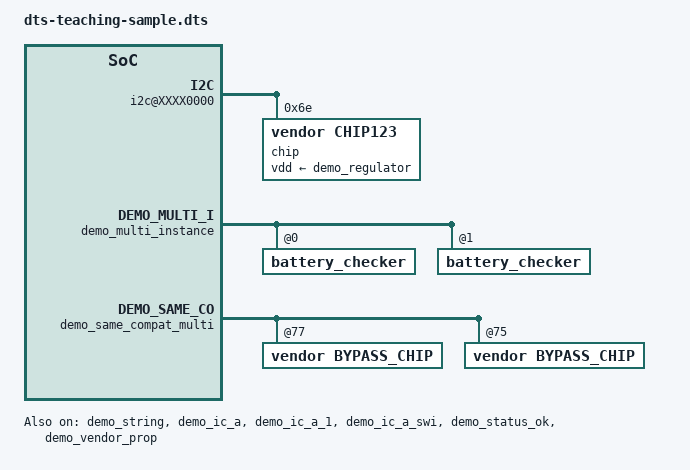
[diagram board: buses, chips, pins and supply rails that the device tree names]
/*
 * DTS 配置格式教学范例文件
 *
 * 本文件基于 overlay.dts 缩减而成，每种配置格式仅保留一项示例，
 * 并附加注释说明该格式的语法与用途，供学习 DTS 配置参考。
 *
 * 目录索引:
 *   1.  文件头声明          (/dts-v1/, /plugin/)
 *   2.  include 包含        (/include/)
 *   3.  根节点属性赋值      (/ {})
 *   4.  节点引用覆盖        (&label)
 *   5.  整数属性            (<>)
 *   6.  字符串属性          ("")
 *   7.  字节数组属性        (/bits/ 8 <>)
 *   8.  Phandle 引用        (<&xxx>)
 *   9.  布尔/空属性         (无值)
 *   10. 总线设备节点        (name@address)
 *   11. 同名多节点          (@0 / @1)
 *   12. 编号标签变体        (_1 / _swi)
 *   13. 多层嵌套子节点      (无地址子节点)
 *   14. compatible 属性     (vendor,device)
 *   15. -supply 后缀属性    (regulator 绑定)
 *   16. kebab-case 命名     (连字符)
 *   17. 字符串→属性名引用   (间接引用)
 *   18. 自描述表格          (列数元数据 + 数据行)
 *   19. 编号属性序列        (同前缀 + 数字后缀)
 *   20. 标准 DTS 框架属性   (#address-cells 等)
 *   21. 负数值              (字符串形式与 <> 形式)
 *   22. 十六进制大小写混用  (0xb / 0x4B)
 *   23. 多 phandle 列表     (<&a &b>)
 *   24. 注释格式            (block 和 line)
 *   25. 多 <> 组逗号拼接    (<...>,<...>)
 *   26. 同一节点多次覆盖    (&label 出现多次)
 *   27. 节点内定义 label    (label:name)
 *   28. vendor 前缀属性名   (vendor,property)
 *   29. 浮点数字符串表示    ("0.5")
 *   30. 字符串中 | 多值     ("6|9|10")
 *   31. 同 compatible 多实例 (相同 compatible 不同 reg)
 */

/* ── 1. 文件头声明 ── */
/dts-v1/;
/plugin/;

/* ── 2. include 包含 ── */
/include/ "pin.dtsi"

/* ── 3. 根节点属性赋值 ── */
/ {
	board_id = <0>;
};

/* ── 5. 整数属性 ── */
&demo_integer {
	/* 单值整数 */
	single_value = <42>;
	/* 十六进制整数 */
	hex_value = <0x220022>;
	/* 多值数组 */
	multi_value = <1 2800>;
	/* 多行矩阵——换行不影响解析，空格/Tab 均可分隔 */
	multi_line_matrix = <
		16 100 100
		6  15  100
		0  5   100>;
};

/* ── 6. 字符串属性 ── */
&demo_string {
	/* 单字符串 */
	status = "ok";
	/* 字符串数组（逗号分隔的多个字符串） */
	string_array = "buck", "0", "1", "1";
	/* 多行字符串参数表——换行不中断 */
	multi_line_table =
		"scp", "lvc", "2000", "105", "0", "2",
		"scp", "sc",  "3000", "105", "0", "0";
};

/* ── 7. 字节数组属性 ── */
&demo_byte_array {
	/* 8 位字节数组 */
	reg_config = /bits/ 8 <0x19 0x32 0x4B 0x64 0x7D>;
	/* 也可用于普通数值 */
	mode_list = /bits/ 8 <0 1 1 5 6>;
};

/* ── 8. Phandle 引用 ── */
&demo_phandle {
	/* GPIO 引用: phandler + pin 号 + flags */
	gpio_int = <&gpio13 29 0>;
	/* interrupt-parent 引用中断控制器 */
	interrupt-parent = <&gic>;
};

/* ── 9. 布尔/空属性 ── */
&demo_bool {
	/* 布尔属性——存在即启用 */
	weak_source_sleep_enabled;
	charge_done_sleep_enabled;
};

/* ── 20. 标准 DTS 框架属性 ── */
&amba {
	#address-cells = <2>;
	#size-cells = <2>;
	compatible = "arm,amba-bus";
	interrupt-parent = <&gic>;
	ranges;

	/* ── 10. 总线设备节点 name@address ── */
	i2c@XXXX0000 {
		status = "ok";

		/* ── 14. compatible 的 vendor,device 格式 ── */
		chip@6E {
			compatible = "vendor,chip123";   /* vendor,device 格式 */
			reg = <0x6e>;                    /* 总线地址，与 @6E 对应 */

			/* ── 13. 无地址子节点（功能子模块）── */
			sub_module {
				param_a = <0>;
				status = "ok";
			};

			/* ── 15. -supply 后缀属性 ── */
			vdd-supply = <&demo_regulator>;

			/* ── 16. kebab-case 命名 ── */
			some-kebab-property = <0>;       /* kebab-case（规范推荐） */
			some_snake_property = <0>;        /* snake_case（项目惯例） */
		};

		/* ── 22. 十六进制大小写混用 ── */
		mixed_case_reg = /bits/ 8 <0xab 0xCD 0xef 0x12>;
	};
};

/* ── 11. 同名多节点 @0 / @1 ── */
&demo_multi_instance {
	status = "ok";

	battery_checker@0 {
		matchable = <&demo_ic_a &demo_ic_b>;
		spare-cycles = <150>;
		status = "ok";
	};

	battery_checker@1 {
		matchable = <&demo_ic_a_1 &demo_ic_b_1>;
		spare-cycles = <150>;
		status = "ok";
	};
};

/* ── 12. 编号标签变体 _1 / _swi ── */
&demo_ic_a {
	status = "ok";
};

&demo_ic_a_1 {
	status = "ok";
};

&demo_ic_a_swi {
	status = "ok";
};

/* ── 17. 字符串→属性名间接引用 ── */
&demo_indirect_ref {
	/* "volt_para" 引用同节点下的另一个属性名 */
	bat_para =
		"default", "10", "15", "volt_para",
		"default", "15", "20", "volt_para1",
		"CAE",     "10", "15", "volt_para",
		"CAE",     "15", "20", "volt_para1";

	/* 被引用的属性 */
	volt_para =
		"4080", "5000", "3777",
		"4300", "3777", "2697",
		"4500", "2697", "1618",
		"4555", "1618", "1200";
	volt_para1 =
		"4500", "5000", "3776",
		"4550", "3776", "2697",
		"4555", "2697", "1200";

	/* "cccv_para0" 引用子节点名 */
	battery_tbl = "default", "cccv_para0";

	/* 被引用的子节点 */
	cccv_para0 {
		param = <4500 0>;
	};

	/* "time_para01" 引用属性名，"0X1" 为模式标识 */
	time_para_group =
		"0X1", "time_para01",
		"0X0", "time_para02";
	time_para01 = "640", "7200", "520", "8000", "0", "12500";
	time_para02 = "900", "8300", "720", "8700", "0", "12500";
};

/* ── 18. 自描述表格（列数元数据 + 数据行）── */
&demo_self_describing_table {
	/* 声明每行 14 列 */
	init_para_col = <14>;
	/* 严格 14 列/行 */
	init_para =
		"type_a", "SC_2", "0", "1", "3300", "4500", "9000", "450", "300", "100", "300", "10000", "9000", "2",
		"type_b", "SC_4", "2", "1", "3200", "4500", "15000", "500", "300", "100", "300", "20000", "15000", "4";
};

/* ── 19. 编号属性序列 ── */
&demo_numbered_series {
	/* FOD 损耗阈值表：rx_ploss_th0 ~ rx_ploss_th31（此处仅示意 2 个） */
	rx_ploss_th0 = /bits/ 8 <0x19 0x32 0x4B 0x64 0x7D 0x96 0xAF 0xE1 0xEB>;
	rx_ploss_th1 = /bits/ 8 <0x19 0x32 0x4B 0x64 0x7D 0x96 0xAF 0xE1 0xEB>;

	/* 电压参数表：volt_para0 ~ volt_para3 */
	volt_para0 = "4050", "8092", "6474", "4080", "6474", "3777";
	volt_para1 = "4200", "10790", "8092", "4250", "8092", "5395";

	/* IC 参数表：ic_para1 ~ ic_para3 */
	ic_para1 =
		"0", "0", "5000", "0", "0",
		"1", "1", "5000", "1", "1";
	ic_para2 =
		"0", "0", "12000", "0", "0",
		"1", "1", "10000", "1", "1";

	/* CCCV 温度区间参数：前缀 + 温度范围后缀 */
	cccv_0_10 = <4550 541>;
	cccv_10_20 = <4200 3610 4250 2707 4500 1805>;
	cccv_20_45 = <4000 4512 4040 3970 4270 3610>;
};

/* ── 21. 负数值 ── */
&demo_negative {
	/* 字符串形式的负数——参数表中常用 "-32767" 表示下限无穷 */
	temp_para =
		"-32767", "10", "0",
		"10", "45", "5000",
		"45", "32767", "0";

	/* 尖括号形式的负数 */
	margin = <-1>;

	/* "-1" 在不同上下文中含义不同 */
	adaptor_id = "-1";
};

/* ── 23. 多 phandle 无分隔列表 ── */
&demo_phandle_list {
	/* 两个 phandle 组成可匹配设备列表 */
	matchable = <&demo_ic_a &demo_ic_b>;
	/* 也可以更多 */
	all_ics = <&demo_ic_a &demo_ic_b &demo_ic_a_1 &demo_ic_b_1>;
};

/* ── 24. 注释格式 ── */
&demo_comment {
	/* 这是块注释——可以
	   跨越多行 */
	value_a = <0>;
	// 这是行注释——仅单行
	value_b = <0>;
	/* 行内块注释 */ value_c = <0>;
	// 行注释也可在属性行上方
	value_d = <0>;
};

/* ── 补充：status 属性的两种常见值 ── */
&demo_status_ok {
	status = "ok";
};

&demo_status_disabled {
	status = "disabled";
};

/* ── 25. 多 <> 组逗号拼接 ── */
&demo_multi_group {
	/* 两组参数拼接为一个数组: [1, 2600, 2, 2800] */
	combined_para = <1 2600>,<2 2800>;
	/* 也可以更多组 */
	multi_group = <0 100>,<1 200>,<2 300>;
};

/* ── 26. 同一节点多次引用覆盖 ── */
&demo_multi_ref {
	/* 第一次引用：添加属性 A */
	prop_a = <0>;
};

&demo_multi_ref {
	/* 第二次引用：添加属性 B——与上面的 prop_a 合并到同一节点 */
	prop_b = <1>;
	/* 也可添加子节点 */
	sub_node {
		param = <0>;
	};
};

/* ── 27. 节点内定义 label ── */
&demo_label_parent {
	/* 定义 label 为 my_batt，节点名为 batt_cell */
	my_batt:batt_cell {
		voltage = <4200>;
		capacity = <5000>;
	};
};

/* 通过 label 引用上面定义的节点 */
&my_batt {
	/* 此属性会合并到 batt_cell 节点中 */
	temp_th = <450>;
};

/* ── 28. vendor 前缀的自定义属性名 ── */
&demo_vendor_prop {
	/* vendor 前缀属性——避免命名空间冲突 */
	vendor,led-type = <0>;
	vendor,custom-cfg = <1 2 3>;
	/* 对照：标准属性无前缀 */
	status = "ok";
};

/* ── 29. 浮点数以字符串形式表示 ── */
&demo_float {
	/* "0.5" 是字符串，驱动用 kstrtod() 等函数解析 */
	comp_para =
		"chip_a", "13", "7", "3",
		"chip_b", "2", "0.5", "3";
	/* 单个浮点值也需用字符串 */
	coefficient = "0.5";
};

/* ── 30. 字符串值中用 | 表示多值 ── */
&demo_pipe_multi_value {
	/* "6|9|10" 在一个字符串中编码多个适配器类型 ID */
	trx_plim =
		"5000",  "5500",  "1200", "-1", "2",      "-1", "-1", "-1",
		"12000", "12000", "2300", "-1", "6|9|10", "-1", "3",  "-1",
		"12000", "12000", "2300", "-1", "11|12",  "-1", "3",  "-1";
};

/* ── 31. 同一 compatible 的多实例（相同驱动，不同地址）── */
&demo_same_compat_multi {
	/* 实例 1: I2C 地址 0x77 */
	bypass_chip@77 {
		compatible = "vendor,bypass_chip";
		reg = <0x77>;
		ic_role = "0";       /* 用属性值区分实例角色 */
		status = "ok";
	};

	/* 实例 2: I2C 地址 0x75，相同 compatible */
	bypass_chip@75 {
		compatible = "vendor,bypass_chip";
		reg = <0x75>;
		ic_role = "1";       /* 不同角色 */
		status = "ok";
	};
};
